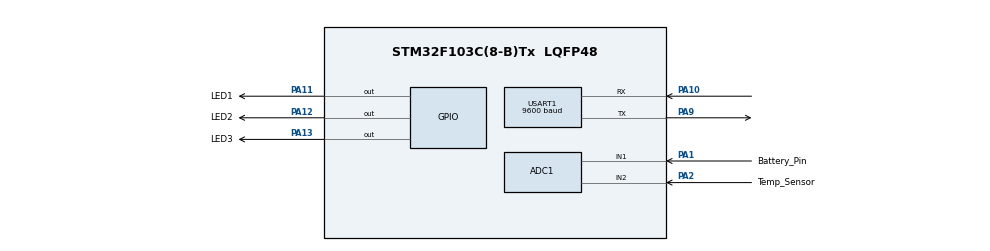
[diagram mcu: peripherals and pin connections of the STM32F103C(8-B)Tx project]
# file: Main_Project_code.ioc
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ADC1.Channel-7\#ChannelRegularConversion=ADC_CHANNEL_1
ADC1.ContinuousConvMode=ENABLE
ADC1.NbrOfConversionFlag=1
ADC1.Rank-7\#ChannelRegularConversion=1
ADC1.SamplingTime-7\#ChannelRegularConversion=ADC_SAMPLETIME_1CYCLE_5
ADC1.master=1
Mcu.Family=STM32F1
Mcu.Name=STM32F103C(8-B)Tx
Mcu.Package=LQFP48
NVIC.PriorityGroup=NVIC_PRIORITYGROUP_4
PA1.GPIO_Label=Battery_Pin
PA1.Signal=ADCx_IN1
PA10.Mode=Asynchronous
PA10.Signal=USART1_RX
PA11.GPIO_Label=LED1
PA11.Signal=GPIO_Output
PA12.GPIO_Label=LED2
PA12.Signal=GPIO_Output
PA13.GPIO_Label=LED3
PA13.Signal=GPIO_Output
PA2.GPIO_Label=Temp_Sensor
PA2.Signal=ADCx_IN2
PA9.Mode=Asynchronous
PA9.Signal=USART1_TX
ProjectManager.HeapSize=0x200
ProjectManager.StackSize=0x400
ProjectManager.TargetToolchain=STM32CubeIDE
RCC.APB1Freq_Value=8000000
RCC.APB2Freq_Value=8000000
SH.ADCx_IN1.0=ADC1_IN1,IN1
SH.ADCx_IN2.0=ADC1_IN2,IN2
USART1.BaudRate=9600
USART1.VirtualMode=VM_ASYNC
board=custom

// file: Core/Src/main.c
/* USER CODE BEGIN Header */
/**
  ******************************************************************************
  * @file           : main.c
  * @brief          : Main program body
  ******************************************************************************
  * @attention
  *
  * Copyright (c) 2023 STMicroelectronics.
  * All rights reserved.
  *
  * This software is licensed under terms that can be found in the LICENSE file
  * in the root directory of this software component.
  * If no LICENSE file comes with this software, it is provided AS-IS.
  *
  ******************************************************************************
  */
/* USER CODE END Header */
#include "main.h"

/* USER CODE BEGIN PM */

//defining macros of LED pins of GPIOA
#define LED1 GPIO_PIN_11
#define LED2 GPIO_PIN_12
#define LED3 GPIO_PIN_13

#define TURN_ON		ENABLE
#define TURN_OFF	DISABLE

/* USER CODE END PM */

ADC_HandleTypeDef hadc1;

UART_HandleTypeDef huart1;

/* USER CODE BEGIN PV */

uint16_t temperatureAnalog_Value;
float batteryVoltage_Rating;
float temperature_Rating;

/* USER CODE END PV */

void SystemClock_Config(void);
static void MX_GPIO_Init(void);
static void MX_USART1_UART_Init(void);
static void MX_ADC1_Init(void);
/* USER CODE BEGIN PFP */

void LED_Control(uint8_t led_number, uint8_t state);
float Get_Battery_Voltage()
{
	HAL_ADC_Start(&hadc1);
	uint16_t batteryAnalog_Value = HAL_ADC_GetValue(&hadc1);
}

/* USER CODE END PFP */

int main(void)
{

  /* MCU Configuration--------------------------------------------------------*/

  /* Reset of all peripherals, Initializes the Flash interface and the Systick. */
  HAL_Init();

  /* Configure the system clock */
  SystemClock_Config();

  /* Initialize all configured peripherals */
  MX_GPIO_Init();
  MX_USART1_UART_Init();
  MX_ADC1_Init();

  /* Infinite loop */
  while (1)
  {

  }
}

void SystemClock_Config(void)
{
  RCC_OscInitTypeDef RCC_OscInitStruct = {0};
  RCC_ClkInitTypeDef RCC_ClkInitStruct = {0};
  RCC_PeriphCLKInitTypeDef PeriphClkInit = {0};

  /** Initializes the RCC Oscillators according to the specified parameters
  * in the RCC_OscInitTypeDef structure.
  */
  RCC_OscInitStruct.OscillatorType = RCC_OSCILLATORTYPE_HSI;
  RCC_OscInitStruct.HSIState = RCC_HSI_ON;
  RCC_OscInitStruct.HSICalibrationValue = RCC_HSICALIBRATION_DEFAULT;
  RCC_OscInitStruct.PLL.PLLState = RCC_PLL_NONE;
  if (HAL_RCC_OscConfig(&RCC_OscInitStruct) != HAL_OK)
  {
    Error_Handler();
  }

  /** Initializes the CPU, AHB and APB buses clocks
  */
  RCC_ClkInitStruct.ClockType = RCC_CLOCKTYPE_HCLK|RCC_CLOCKTYPE_SYSCLK
                              |RCC_CLOCKTYPE_PCLK1|RCC_CLOCKTYPE_PCLK2;
  RCC_ClkInitStruct.SYSCLKSource = RCC_SYSCLKSOURCE_HSI;
  RCC_ClkInitStruct.AHBCLKDivider = RCC_SYSCLK_DIV1;
  RCC_ClkInitStruct.APB1CLKDivider = RCC_HCLK_DIV1;
  RCC_ClkInitStruct.APB2CLKDivider = RCC_HCLK_DIV1;

  if (HAL_RCC_ClockConfig(&RCC_ClkInitStruct, FLASH_LATENCY_0) != HAL_OK)
  {
    Error_Handler();
  }
  PeriphClkInit.PeriphClockSelection = RCC_PERIPHCLK_ADC;
  PeriphClkInit.AdcClockSelection = RCC_ADCPCLK2_DIV2;
  if (HAL_RCCEx_PeriphCLKConfig(&PeriphClkInit) != HAL_OK)
  {
    Error_Handler();
  }
}

static void MX_ADC1_Init(void)
{

  ADC_ChannelConfTypeDef sConfig = {0};

  /** Common config
  */
  hadc1.Instance = ADC1;
  hadc1.Init.ScanConvMode = ADC_SCAN_DISABLE;
  hadc1.Init.ContinuousConvMode = ENABLE;
  hadc1.Init.DiscontinuousConvMode = DISABLE;
  hadc1.Init.ExternalTrigConv = ADC_SOFTWARE_START;
  hadc1.Init.DataAlign = ADC_DATAALIGN_RIGHT;
  hadc1.Init.NbrOfConversion = 1;
  if (HAL_ADC_Init(&hadc1) != HAL_OK)
  {
    Error_Handler();
  }

  /** Configure Regular Channel
  */
  sConfig.Channel = ADC_CHANNEL_1;
  sConfig.Rank = ADC_REGULAR_RANK_1;
  sConfig.SamplingTime = ADC_SAMPLETIME_1CYCLE_5;
  if (HAL_ADC_ConfigChannel(&hadc1, &sConfig) != HAL_OK)
  {
    Error_Handler();
  }

}

static void MX_USART1_UART_Init(void)
{

  huart1.Instance = USART1;
  huart1.Init.BaudRate = 9600;
  huart1.Init.WordLength = UART_WORDLENGTH_8B;
  huart1.Init.StopBits = UART_STOPBITS_1;
  huart1.Init.Parity = UART_PARITY_NONE;
  huart1.Init.Mode = UART_MODE_TX_RX;
  huart1.Init.HwFlowCtl = UART_HWCONTROL_NONE;
  huart1.Init.OverSampling = UART_OVERSAMPLING_16;
  if (HAL_UART_Init(&huart1) != HAL_OK)
  {
    Error_Handler();
  }

}

static void MX_GPIO_Init(void)
{
  GPIO_InitTypeDef GPIO_InitStruct = {0};

  /* GPIO Ports Clock Enable */
  __HAL_RCC_GPIOA_CLK_ENABLE();

  /*Configure GPIO pin Output Level */
  HAL_GPIO_WritePin(GPIOA, LED1_Pin|LED2_Pin|LED3_Pin, GPIO_PIN_RESET);

  /*Configure GPIO pins : LED1_Pin LED2_Pin LED3_Pin */
  GPIO_InitStruct.Pin = LED1_Pin|LED2_Pin|LED3_Pin;
  GPIO_InitStruct.Mode = GPIO_MODE_OUTPUT_PP;
  GPIO_InitStruct.Pull = GPIO_NOPULL;
  GPIO_InitStruct.Speed = GPIO_SPEED_FREQ_LOW;
  HAL_GPIO_Init(GPIOA, &GPIO_InitStruct);

}

/* USER CODE BEGIN 4 */

//LED control function definition
void LED_Control(uint8_t led_number, uint8_t state) {
	if (state == ENABLE) {
		switch (led_number) {
		case LED1:
			HAL_GPIO_WritePin(GPIOA, LED1_Pin, TURN_ON);
			break;
		case LED1:
			HAL_GPIO_WritePin(GPIOA, LED2_Pin, TURN_ON);
			break;
		case LED1:
			HAL_GPIO_WritePin(GPIOA, LED3_Pin, TURN_ON);
			break;

		}

	} else {
		switch (led_number) {
		case LED1:
			HAL_GPIO_WritePin(GPIOA, LED1_Pin, TURN_OFF);
			break;
		case LED1:
			HAL_GPIO_WritePin(GPIOA, LED2_Pin, TURN_OFF);
			break;
		case LED1:
			HAL_GPIO_WritePin(GPIOA, LED3_Pin, TURN_OFF);
			break;

		}
	}
}

/* USER CODE END 4 */

void Error_Handler(void)
{
	__disable_irq();
	while (1) {
	}
}
